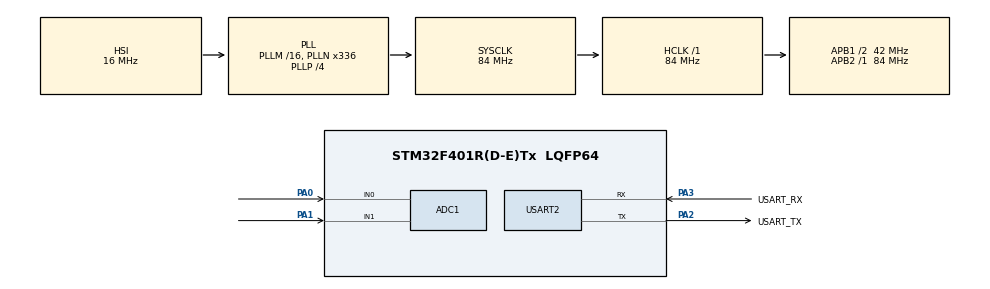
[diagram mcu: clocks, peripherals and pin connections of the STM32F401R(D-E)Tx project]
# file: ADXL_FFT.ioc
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ADC1.Channel-0\#ChannelRegularConversion=ADC_CHANNEL_0
ADC1.Channel-1\#ChannelRegularConversion=ADC_CHANNEL_1
ADC1.ContinuousConvMode=ENABLE
ADC1.DMAContinuousRequests=ENABLE
ADC1.EOCSelection=ADC_EOC_SEQ_CONV
ADC1.NbrOfConversion=2
ADC1.NbrOfConversionFlag=1
ADC1.Rank-0\#ChannelRegularConversion=1
ADC1.Rank-1\#ChannelRegularConversion=2
ADC1.SamplingTime-0\#ChannelRegularConversion=ADC_SAMPLETIME_28CYCLES
ADC1.SamplingTime-1\#ChannelRegularConversion=ADC_SAMPLETIME_28CYCLES
ADC1.master=1
Dma.ADC1.0.Direction=DMA_PERIPH_TO_MEMORY
Dma.ADC1.0.FIFOMode=DMA_FIFOMODE_DISABLE
Dma.ADC1.0.Instance=DMA2_Stream0
Dma.ADC1.0.MemDataAlignment=DMA_MDATAALIGN_WORD
Dma.ADC1.0.MemInc=DMA_MINC_ENABLE
Dma.ADC1.0.Mode=DMA_CIRCULAR
Dma.ADC1.0.PeriphDataAlignment=DMA_PDATAALIGN_WORD
Dma.ADC1.0.PeriphInc=DMA_PINC_DISABLE
Dma.ADC1.0.Priority=DMA_PRIORITY_LOW
Dma.Request0=ADC1
Mcu.Family=STM32F4
Mcu.Name=STM32F401R(D-E)Tx
Mcu.Package=LQFP64
NVIC.DMA2_Stream0_IRQn=true\:0\:0\:false\:false\:true\:false\:true\:true
NVIC.PriorityGroup=NVIC_PRIORITYGROUP_0
NVIC.TIM2_IRQn=true\:0\:0\:false\:false\:true\:true\:true\:true
PA0-WKUP.Signal=ADCx_IN0
PA1.Signal=ADCx_IN1
PA14.GPIO_Label=TCK
PA14.Signal=SYS_JTCK-SWCLK
PA2.GPIO_Label=USART_TX
PA2.GPIO_Mode=GPIO_MODE_AF_PP
PA2.GPIO_PuPd=GPIO_NOPULL
PA2.GPIO_Speed=GPIO_SPEED_FREQ_LOW
PA2.Mode=Asynchronous
PA2.Signal=USART2_TX
PA3.GPIO_Label=USART_RX
PA3.GPIO_Mode=GPIO_MODE_AF_PP
PA3.GPIO_PuPd=GPIO_NOPULL
PA3.GPIO_Speed=GPIO_SPEED_FREQ_LOW
PA3.Mode=Asynchronous
PA3.Signal=USART2_RX
ProjectManager.HeapSize=0x200
ProjectManager.StackSize=0x400
ProjectManager.TargetToolchain=STM32CubeIDE
RCC.AHBFreq_Value=84000000
RCC.APB1CLKDivider=RCC_HCLK_DIV2
RCC.APB1Freq_Value=42000000
RCC.APB1TimFreq_Value=84000000
RCC.APB2Freq_Value=84000000
RCC.APB2TimFreq_Value=84000000
RCC.CortexFreq_Value=84000000
RCC.HCLKFreq_Value=84000000
RCC.HSE_VALUE=8000000
RCC.HSI_VALUE=16000000
RCC.LSE_VALUE=32768
RCC.PLLN=336
RCC.PLLP=RCC_PLLP_DIV4
RCC.PLLQ=7
RCC.SYSCLKFreq_VALUE=84000000
RCC.SYSCLKSource=RCC_SYSCLKSOURCE_PLLCLK
RCC.VCOOutputFreq_Value=336000000
SH.ADCx_IN0.0=ADC1_IN0,IN0
SH.ADCx_IN1.0=ADC1_IN1,IN1
TIM2.Period=100-1
TIM2.Prescaler=84-1
TIM2.TIM_MasterOutputTrigger=TIM_TRGO_UPDATE
USART2.VirtualMode=VM_ASYNC
VP_TIM2_VS_ClockSourceINT.Mode=Internal
board=NUCLEO-F401RE

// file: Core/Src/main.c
/* USER CODE BEGIN Header */
/**
  ******************************************************************************
  * @file           : main.c
  * @brief          : Main program body
  ******************************************************************************
  * @attention
  *
  * Copyright (c) 2023 STMicroelectronics.
  * All rights reserved.
  *
  * This software is licensed under terms that can be found in the LICENSE file
  * in the root directory of this software component.
  * If no LICENSE file comes with this software, it is provided AS-IS.
  *
  ******************************************************************************
  */
/* USER CODE END Header */
#include "main.h"

/* USER CODE BEGIN Includes */
#include <string.h>
#include <stdio.h>
#define ARM_MATH_CM4
#include "arm_math.h"
#include "arm_const_structs.h"
/* USER CODE END Includes */

/* USER CODE BEGIN PD */
#define FFT_BUFFER_SIZE 1024
#define SAMPLING_RATE 10000
arm_rfft_fast_instance_f32 fftHandler;
float32_t fftBuffIn[FFT_BUFFER_SIZE];
float32_t fftBuffOut[FFT_BUFFER_SIZE];
float32_t outputfft_mag[FFT_BUFFER_SIZE/2];
float32_t outputfft_freq[FFT_BUFFER_SIZE/2];
uint8_t fftFlag=0;
#define SampleSize 1024
double Xsum = 0.0;
double Ysum = 0.0;
uint32_t adcVal[2];
double Sensor1Values[SampleSize];
double XFinalValues[SampleSize];
double Sensor2Values[SampleSize];
double YFinalValues[SampleSize];
double Xaverage;
double Yaverage;
uint32_t counter;
char adc_flag;
/* USER CODE END PD */

ADC_HandleTypeDef hadc1;
DMA_HandleTypeDef hdma_adc1;

TIM_HandleTypeDef htim2;

UART_HandleTypeDef huart2;

void SystemClock_Config(void);
static void MX_GPIO_Init(void);
static void MX_DMA_Init(void);
static void MX_ADC1_Init(void);
static void MX_TIM2_Init(void);
static void MX_USART2_UART_Init(void);

/* USER CODE BEGIN 0 */

/**
  * @brief  The application entry point.
  * @retval int
  */

int main(void)
{
  /* USER CODE BEGIN 1 */

  /* USER CODE END 1 */

  /* MCU Configuration--------------------------------------------------------*/

  /* Reset of all peripherals, Initializes the Flash interface and the Systick. */
  HAL_Init();

  /* USER CODE BEGIN Init */

  /* USER CODE END Init */

  /* Configure the system clock */
  SystemClock_Config();

  /* USER CODE BEGIN SysInit */

  /* USER CODE END SysInit */

  /* Initialize all configured peripherals */
  MX_GPIO_Init();
  MX_DMA_Init();
  MX_ADC1_Init();
  MX_TIM2_Init();
  MX_USART2_UART_Init();
  /* USER CODE BEGIN 2 */
  HAL_TIM_Base_Start(&htim2);
   //Start ADC after timer
 HAL_ADC_Start_DMA(&hadc1,adcVal,2);

 arm_rfft_fast_init_f32(&fftHandler, FFT_BUFFER_SIZE);
  /* USER CODE END 0 */

  /* USER CODE END 2 */

  /* Infinite loop */
  while (1)
  {

    /* USER CODE BEGIN 3 */
	  counter++;
	  adc_flag=1;
	  if (counter < SampleSize && adc_flag == 1)
	  {
		  Sensor1Values[counter] = adcVal[1];
		  char buffer[100];
		  snprintf(buffer, sizeof(buffer), "Sensor1Values[%lu] :  %.2f\r\n", (unsigned long)counter, Sensor1Values[counter]);
		  HAL_UART_Transmit(&huart2, (uint8_t *)buffer, strlen(buffer), HAL_MAX_DELAY);
	  }
	  if (counter >= SampleSize)
		  {
			  for(int k = 0; k<FFT_BUFFER_SIZE; k++){
				  fftBuffIn[k]= Sensor1Values[k];
			  }
			  arm_rfft_fast_f32(&fftHandler,fftBuffIn,fftBuffOut,0); // 0 means applying Fourier transform, 1 means inverse
			  arm_cmplx_mag_f32(fftBuffOut, outputfft_mag, FFT_BUFFER_SIZE/2); //
			  for (int l = 0; l<FFT_BUFFER_SIZE/2; l++)
			  {
				  outputfft_freq[l] = (float32_t)(l * SAMPLING_RATE) / FFT_BUFFER_SIZE;
				  char buffer3[100];
				  snprintf(buffer3, sizeof(buffer3), "Frequency %.2f Hz: Magnitude %.2f\r\n", outputfft_freq[l], outputfft_mag[l]);
				  HAL_UART_Transmit(&huart2, (uint8_t *)buffer3, strlen(buffer3), HAL_MAX_DELAY);
			  }
			  break;
  }
  /* USER CODE END 3 */
}

void SystemClock_Config(void)
{
  RCC_OscInitTypeDef RCC_OscInitStruct = {0};
  RCC_ClkInitTypeDef RCC_ClkInitStruct = {0};

  /** Configure the main internal regulator output voltage
  */
  __HAL_RCC_PWR_CLK_ENABLE();
  __HAL_PWR_VOLTAGESCALING_CONFIG(PWR_REGULATOR_VOLTAGE_SCALE2);

  /** Initializes the RCC Oscillators according to the specified parameters
  * in the RCC_OscInitTypeDef structure.
  */
  RCC_OscInitStruct.OscillatorType = RCC_OSCILLATORTYPE_HSI;
  RCC_OscInitStruct.HSIState = RCC_HSI_ON;
  RCC_OscInitStruct.HSICalibrationValue = RCC_HSICALIBRATION_DEFAULT;
  RCC_OscInitStruct.PLL.PLLState = RCC_PLL_ON;
  RCC_OscInitStruct.PLL.PLLSource = RCC_PLLSOURCE_HSI;
  RCC_OscInitStruct.PLL.PLLM = 16;
  RCC_OscInitStruct.PLL.PLLN = 336;
  RCC_OscInitStruct.PLL.PLLP = RCC_PLLP_DIV4;
  RCC_OscInitStruct.PLL.PLLQ = 7;
  if (HAL_RCC_OscConfig(&RCC_OscInitStruct) != HAL_OK)
  {
    Error_Handler();
  }

  /** Initializes the CPU, AHB and APB buses clocks
  */
  RCC_ClkInitStruct.ClockType = RCC_CLOCKTYPE_HCLK|RCC_CLOCKTYPE_SYSCLK
                              |RCC_CLOCKTYPE_PCLK1|RCC_CLOCKTYPE_PCLK2;
  RCC_ClkInitStruct.SYSCLKSource = RCC_SYSCLKSOURCE_PLLCLK;
  RCC_ClkInitStruct.AHBCLKDivider = RCC_SYSCLK_DIV1;
  RCC_ClkInitStruct.APB1CLKDivider = RCC_HCLK_DIV2;
  RCC_ClkInitStruct.APB2CLKDivider = RCC_HCLK_DIV1;

  if (HAL_RCC_ClockConfig(&RCC_ClkInitStruct, FLASH_LATENCY_2) != HAL_OK)
  {
    Error_Handler();
  }
}

static void MX_ADC1_Init(void)
{

  ADC_ChannelConfTypeDef sConfig = {0};

  /** Configure the global features of the ADC (Clock, Resolution, Data Alignment and number of conversion)
  */
  hadc1.Instance = ADC1;
  hadc1.Init.ClockPrescaler = ADC_CLOCK_SYNC_PCLK_DIV4;
  hadc1.Init.Resolution = ADC_RESOLUTION_12B;
  hadc1.Init.ScanConvMode = ENABLE;
  hadc1.Init.ContinuousConvMode = ENABLE;
  hadc1.Init.DiscontinuousConvMode = DISABLE;
  hadc1.Init.ExternalTrigConvEdge = ADC_EXTERNALTRIGCONVEDGE_NONE;
  hadc1.Init.ExternalTrigConv = ADC_SOFTWARE_START;
  hadc1.Init.DataAlign = ADC_DATAALIGN_RIGHT;
  hadc1.Init.NbrOfConversion = 2;
  hadc1.Init.DMAContinuousRequests = ENABLE;
  hadc1.Init.EOCSelection = ADC_EOC_SEQ_CONV;
  if (HAL_ADC_Init(&hadc1) != HAL_OK)
  {
    Error_Handler();
  }

  /** Configure for the selected ADC regular channel its corresponding rank in the sequencer and its sample time.
  */
  sConfig.Channel = ADC_CHANNEL_0;
  sConfig.Rank = 1;
  sConfig.SamplingTime = ADC_SAMPLETIME_28CYCLES;
  if (HAL_ADC_ConfigChannel(&hadc1, &sConfig) != HAL_OK)
  {
    Error_Handler();
  }

  /** Configure for the selected ADC regular channel its corresponding rank in the sequencer and its sample time.
  */
  sConfig.Channel = ADC_CHANNEL_1;
  sConfig.Rank = 2;
  if (HAL_ADC_ConfigChannel(&hadc1, &sConfig) != HAL_OK)
  {
    Error_Handler();
  }

}

static void MX_TIM2_Init(void)
{

  TIM_ClockConfigTypeDef sClockSourceConfig = {0};
  TIM_MasterConfigTypeDef sMasterConfig = {0};

  htim2.Instance = TIM2;
  htim2.Init.Prescaler = 84-1;
  htim2.Init.CounterMode = TIM_COUNTERMODE_UP;
  htim2.Init.Period = 100-1;
  htim2.Init.ClockDivision = TIM_CLOCKDIVISION_DIV1;
  htim2.Init.AutoReloadPreload = TIM_AUTORELOAD_PRELOAD_DISABLE;
  if (HAL_TIM_Base_Init(&htim2) != HAL_OK)
  {
    Error_Handler();
  }
  sClockSourceConfig.ClockSource = TIM_CLOCKSOURCE_INTERNAL;
  if (HAL_TIM_ConfigClockSource(&htim2, &sClockSourceConfig) != HAL_OK)
  {
    Error_Handler();
  }
  sMasterConfig.MasterOutputTrigger = TIM_TRGO_UPDATE;
  sMasterConfig.MasterSlaveMode = TIM_MASTERSLAVEMODE_DISABLE;
  if (HAL_TIMEx_MasterConfigSynchronization(&htim2, &sMasterConfig) != HAL_OK)
  {
    Error_Handler();
  }

}

static void MX_USART2_UART_Init(void)
{

  huart2.Instance = USART2;
  huart2.Init.BaudRate = 115200;
  huart2.Init.WordLength = UART_WORDLENGTH_8B;
  huart2.Init.StopBits = UART_STOPBITS_1;
  huart2.Init.Parity = UART_PARITY_NONE;
  huart2.Init.Mode = UART_MODE_TX_RX;
  huart2.Init.HwFlowCtl = UART_HWCONTROL_NONE;
  huart2.Init.OverSampling = UART_OVERSAMPLING_16;
  if (HAL_UART_Init(&huart2) != HAL_OK)
  {
    Error_Handler();
  }

}

static void MX_DMA_Init(void)
{

  /* DMA controller clock enable */
  __HAL_RCC_DMA2_CLK_ENABLE();

  /* DMA interrupt init */
  /* DMA2_Stream0_IRQn interrupt configuration */
  HAL_NVIC_SetPriority(DMA2_Stream0_IRQn, 0, 0);
  HAL_NVIC_EnableIRQ(DMA2_Stream0_IRQn);

}

static void MX_GPIO_Init(void)
{

  /* GPIO Ports Clock Enable */
  __HAL_RCC_GPIOA_CLK_ENABLE();

}

/* USER CODE BEGIN 4 */
void HAL_ADC_ConvCpltCallback(ADC_HandleTypeDef* hadc)
{
	UNUSED(&hadc1);
}
int _write(int file, char *ptr, int len)
{
  (void)file;
  int DataIdx;

  for (DataIdx = 0; DataIdx < len; DataIdx++)
  {
    ITM_SendChar(*ptr++);
  }
  return len;
}
/* USER CODE END 4 */

void Error_Handler(void)
{
  __disable_irq();
  while (1)
  {
  }
}
